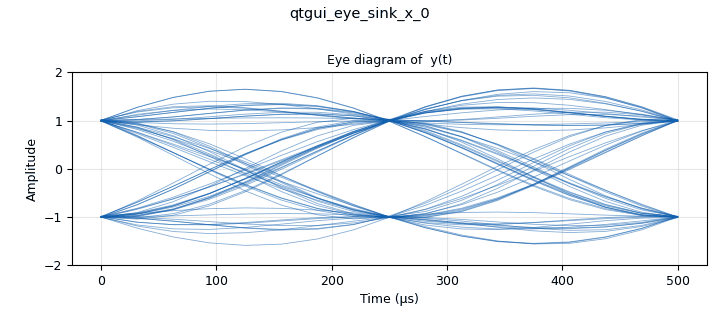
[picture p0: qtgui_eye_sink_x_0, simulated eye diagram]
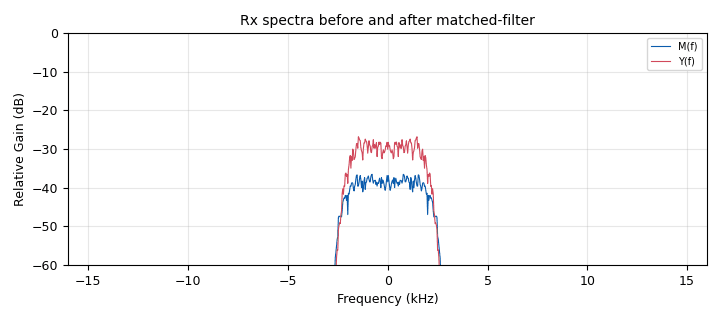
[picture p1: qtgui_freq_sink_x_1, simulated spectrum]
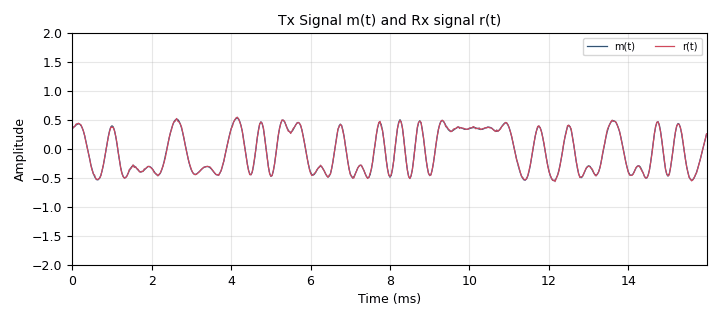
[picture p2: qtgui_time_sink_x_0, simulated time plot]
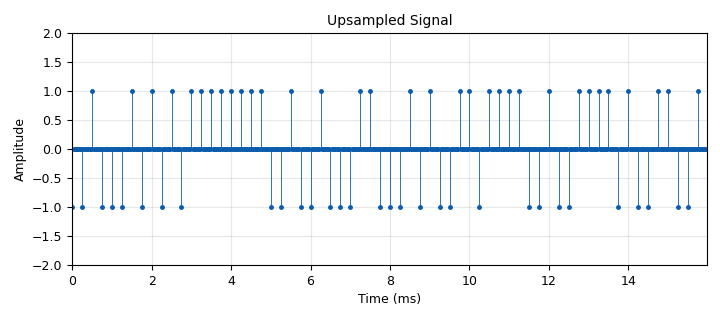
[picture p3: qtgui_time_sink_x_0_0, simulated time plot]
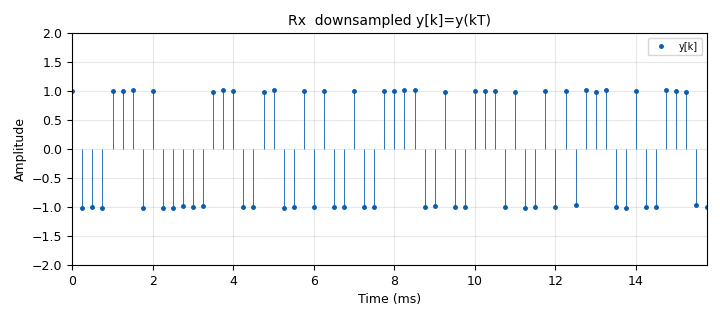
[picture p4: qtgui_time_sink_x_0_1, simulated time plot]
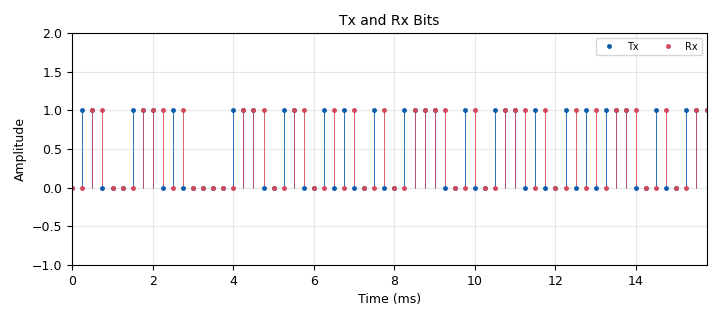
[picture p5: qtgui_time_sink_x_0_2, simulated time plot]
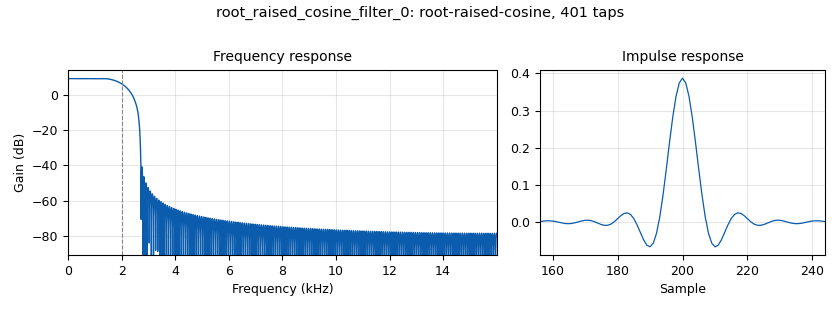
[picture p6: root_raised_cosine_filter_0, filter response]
options:
  parameters:
    author: Harald Elders-Boll
    description: Bipolar NRZ without noise
    generate_options: qt_gui
    id: BiNRZ
    output_language: python
    title: Bipolar NRZ
  states: {}

blocks:
- name: SNR
  id: variable_qtgui_range
  parameters:
    comment: 0,1,1,1
    gui_hint: 0,1,1,1
    label: SNR
    start: '-10'
    step: '1'
    stop: '40'
    value: '40'
  states: {}
- name: degree_glfsr
  id: variable
  parameters:
    comment: |-
      Degree of
      m-sequence
      is length of shift
      register
    value: '14'
  states: {}
- name: delay
  id: variable_qtgui_range
  parameters:
    comment: 0,0,1,1
    gui_hint: 0,0,1,1
    label: Delay
    start: '0'
    step: '1'
    stop: '200'
    value: nsymbols_rrcs-1
  states: {}
- name: m_sequence_length
  id: variable
  parameters:
    comment: Length of m-sequence
    value: int(2**degree_glfsr-1)
  states: {}
- name: nsymbols_rrcs
  id: variable
  parameters:
    comment: |-
      Number of symbol periods
      for length of RRCS filter
      impulse response
    value: '50'
  states: {}
- name: nsymbols_sink
  id: variable
  parameters:
    comment: |-
      Number of symbols shown
      in the sink blocks
    value: '64'
  states: {}
- name: samp_rate
  id: variable
  parameters:
    value: '32000'
  states: {}
- name: sps
  id: variable
  parameters:
    comment: |-
      Number of samples per symbol period.
      Can bee seen as the discrete-time 
      symbol period N.
    value: '8'
  states: {}
- name: analog_noise_source_x_0
  id: analog_noise_source_x
  parameters:
    amp: 10**(-SNR/20)
    comment: |-
      Generate
      WGN
    noise_type: analog.GR_GAUSSIAN
    seed: '0'
    type: float
  states: {}
- name: blocks_add_xx_0
  id: blocks_add_xx
  parameters:
    type: float
  states: {}
- name: blocks_char_to_float_0
  id: blocks_char_to_float
  parameters:
    scale: '1'
  states: {}
- name: blocks_char_to_float_0_0
  id: blocks_char_to_float
  parameters:
    scale: '1'
  states: {}
- name: blocks_delay_0
  id: blocks_delay
  parameters:
    comment: |-
      Compensate
      filter delay
    delay: delay
    type: byte
  states: {}
- name: blocks_float_to_char_0
  id: blocks_float_to_char
  parameters:
    scale: '1'
  states: {}
- name: blocks_repack_bits_bb_0
  id: blocks_repack_bits_bb
  parameters:
    endianness: gr.GR_LSB_FIRST
    k: '1'
    l: '8'
  states: {}
- name: blocks_repack_bits_bb_0_0
  id: blocks_repack_bits_bb
  parameters:
    endianness: gr.GR_LSB_FIRST
    k: '1'
    l: '8'
  states: {}
- name: blocks_threshold_ff_0
  id: blocks_threshold_ff
  parameters:
    comment: |-
      Decision device with
      threshold set to 0.0.
      Output "1" if input is
      lager than threshold
      and zero otherwise-
    high: '0'
    init: '0'
    low: '0'
  states: {}
- name: digital_glfsr_source_x_0
  id: digital_glfsr_source_x
  parameters:
    comment: |-
      Generate pseudo random
      maximum length binary
      shift register sequence
      a.k.a. m-sequence.
    degree: degree_glfsr
    mask: '0'
    repeat: 'True'
    seed: '1'
    type: byte
  states: {}
- name: digital_map_bb_1
  id: digital_map_bb
  parameters:
    comment: |-
      0 -> -1
      1  ->  1
    map: '[-1, 1]'
  states: {}
- name: fec_ber_bf_0
  id: fec_ber_bf
  parameters:
    test_mode: 'False'
  states: {}
- name: import_0
  id: import
  parameters:
    imports: import numpy as np
  states: {}
- name: qtgui_eye_sink_x_0
  id: qtgui_eye_sink_x
  parameters:
    comment: 3,0,1,2
    grid: 'True'
    gui_hint: 3,0,1,2
    label1: Eye diagram of  y(t)
    samp_per_symbol: sps
    size: '1024'
    srate: samp_rate
    type: float
    ymax: '2'
    ymin: '-2'
  states: {}
- name: qtgui_freq_sink_x_1
  id: qtgui_freq_sink_x
  parameters:
    average: '0.05'
    bw: samp_rate
    comment: 3,2,1,2
    fc: '0'
    fftsize: '1024'
    grid: 'True'
    gui_hint: 3,2,1,2
    label1: M(f)
    label2: Y(f)
    name: '"Rx spectra before and after matched-filter"'
    nconnections: '2'
    type: float
    ymax: '0'
    ymin: '-60'
  states: {}
- name: qtgui_number_sink_0
  id: qtgui_number_sink
  parameters:
    graph_type: qtgui.NUM_GRAPH_HORIZ
    gui_hint: 0,2,1,1
    label1: BER
    min: '-10'
    name: '"BER"'
    type: float
  states: {}
- name: qtgui_time_sink_x_0
  id: qtgui_time_sink_x
  parameters:
    comment: 2,2,1,2
    grid: 'True'
    gui_hint: 2,2,1,2
    label1: '"m(t)"'
    label2: '"r(t)"'
    name: '"Tx Signal m(t) and Rx signal r(t)"'
    nconnections: '2'
    size: nsymbols_sink*sps
    srate: samp_rate
    type: float
    ymax: '2'
    ymin: '-2'
  states: {}
- name: qtgui_time_sink_x_0_0
  id: qtgui_time_sink_x
  parameters:
    comment: 1,2,1,2
    grid: 'True'
    gui_hint: 1,2,1,2
    marker1: '0'
    name: '"Upsampled Signal"'
    size: nsymbols_sink*sps
    srate: samp_rate
    stemplot: 'True'
    type: float
    ymax: '2'
    ymin: '-2'
  states: {}
- name: qtgui_time_sink_x_0_1
  id: qtgui_time_sink_x
  parameters:
    comment: 2,0,1,2
    grid: 'True'
    gui_hint: 2,0,1,2
    label1: y[k]
    marker1: '0'
    name: '"Rx  downsampled y[k]=y(kT)"'
    size: nsymbols_sink
    srate: samp_rate/sps
    stemplot: 'True'
    type: float
    ymax: '2'
    ymin: '-2'
  states: {}
- name: qtgui_time_sink_x_0_2
  id: qtgui_time_sink_x
  parameters:
    comment: 1,0,1,2
    grid: 'True'
    gui_hint: 1,0,1,2
    label1: Tx
    label2: Rx
    marker1: '0'
    marker2: '0'
    name: '" Tx and Rx Bits"'
    nconnections: '2'
    size: nsymbols_sink
    srate: samp_rate/sps
    stemplot: 'True'
    tr_mode: qtgui.TRIG_MODE_AUTO
    type: float
    ymax: '2'
  states: {}
- name: rational_resampler_xxx_1
  id: rational_resampler_xxx
  parameters:
    comment: |-
      Decimate from sample
      to symbol rate.
      Downsampling factor is 
      given by varable sps.
    decim: sps
    interp: '1'
    taps: '[1]'
    type: fff
  states: {}
- name: rational_resampler_xxx_1_0
  id: rational_resampler_xxx
  parameters:
    comment: |-
      Inset zeros to upsample
      from symbol rate to sample rate.
      Upsampling factor is given by 
      variable sps.
    decim: '1'
    interp: sps
    taps: '[1]'
    type: fff
  states: {}
- name: root_raised_cosine_filter_0
  id: root_raised_cosine_filter
  parameters:
    alpha: '0.35'
    comment: |-
      Tx filter without upsamling
      or interpolation
    gain: np.sqrt(sps)
    interp: '1'
    ntaps: nsymbols_rrcs*sps
    samp_rate: samp_rate
    sym_rate: samp_rate/sps
    type: interp_fir_filter_fff
  states: {}
- name: root_raised_cosine_filter_0_0
  id: root_raised_cosine_filter
  parameters:
    alpha: '0.35'
    comment: |-
      Matched filter without downsampling
      or decimation to be able to see eye diagram.
      In both, the Tx and Rx filter, the number of 
      tabs is set to a multiple of sps such that
      the total delay introduced by the filters
      is also an integer multiple of sps, i.e.
      of the discrete-time symbol period.
    decim: '1'
    gain: np.sqrt(sps)
    ntaps: nsymbols_rrcs*sps
    samp_rate: samp_rate
    sym_rate: samp_rate/sps
    type: fir_filter_fff
  states: {}
- name: virtual_sink_0
  id: virtual_sink
  parameters:
    stream_id: TxBits
  states: {}
- name: virtual_source_0
  id: virtual_source
  parameters:
    stream_id: TxBits
  states: {}

connections:
- [analog_noise_source_x_0, '0', blocks_add_xx_0, '1']
- [blocks_add_xx_0, '0', qtgui_freq_sink_x_1, '0']
- [blocks_add_xx_0, '0', qtgui_time_sink_x_0, '1']
- [blocks_add_xx_0, '0', root_raised_cosine_filter_0_0, '0']
- [blocks_char_to_float_0, '0', rational_resampler_xxx_1_0, '0']
- [blocks_char_to_float_0_0, '0', qtgui_time_sink_x_0_2, '0']
- [blocks_delay_0, '0', blocks_char_to_float_0_0, '0']
- [blocks_delay_0, '0', virtual_sink_0, '0']
- [blocks_float_to_char_0, '0', blocks_repack_bits_bb_0, '0']
- [blocks_repack_bits_bb_0, '0', fec_ber_bf_0, '0']
- [blocks_repack_bits_bb_0_0, '0', fec_ber_bf_0, '1']
- [blocks_threshold_ff_0, '0', blocks_float_to_char_0, '0']
- [blocks_threshold_ff_0, '0', qtgui_time_sink_x_0_2, '1']
- [digital_glfsr_source_x_0, '0', blocks_delay_0, '0']
- [digital_glfsr_source_x_0, '0', digital_map_bb_1, '0']
- [digital_map_bb_1, '0', blocks_char_to_float_0, '0']
- [fec_ber_bf_0, '0', qtgui_number_sink_0, '0']
- [rational_resampler_xxx_1, '0', blocks_threshold_ff_0, '0']
- [rational_resampler_xxx_1, '0', qtgui_time_sink_x_0_1, '0']
- [rational_resampler_xxx_1_0, '0', qtgui_time_sink_x_0_0, '0']
- [rational_resampler_xxx_1_0, '0', root_raised_cosine_filter_0, '0']
- [root_raised_cosine_filter_0, '0', blocks_add_xx_0, '0']
- [root_raised_cosine_filter_0, '0', qtgui_time_sink_x_0, '0']
- [root_raised_cosine_filter_0_0, '0', qtgui_eye_sink_x_0, '0']
- [root_raised_cosine_filter_0_0, '0', qtgui_freq_sink_x_1, '1']
- [root_raised_cosine_filter_0_0, '0', rational_resampler_xxx_1, '0']
- [virtual_source_0, '0', blocks_repack_bits_bb_0_0, '0']

metadata:
  file_format: 1
  grc_version: 3.10.10.0
